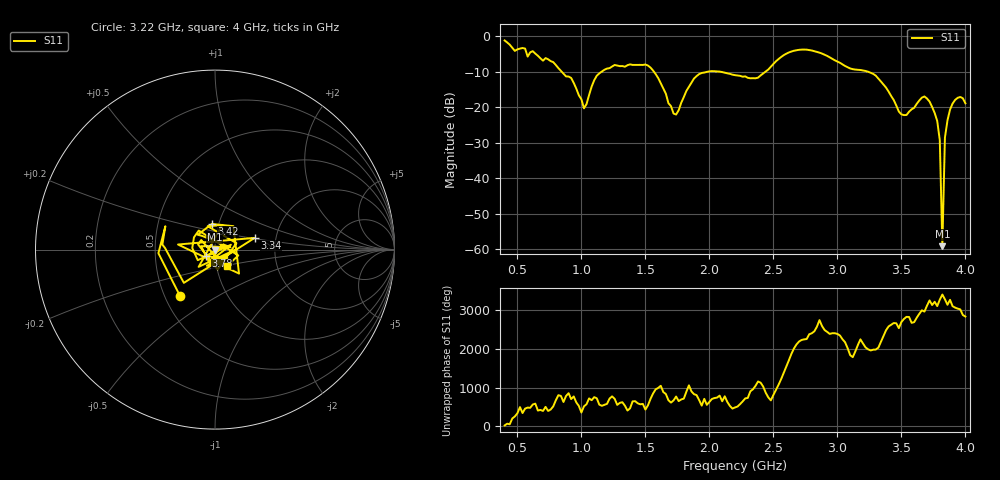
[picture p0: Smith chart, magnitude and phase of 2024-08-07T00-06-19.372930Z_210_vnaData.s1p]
!Created with skrf (http://scikit-rf.org).
# Hz S RI R 50.0
!freq ReS11 ImS11
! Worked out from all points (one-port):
!   181 points, 400 MHz to 4 GHz, reference 50 ohm
!   lowest |S11| = -59.1 dB at 3.82 GHz (marker M1), VSWR 1.00, Z = 49.9 + j0.0515 ohm
!   |S11| at or under -10 dB: 1.567 GHz to 1.987 GHz (419.9 MHz wide, 23.6 % of centre); 2.085 GHz to 2.439 GHz (354.3 MHz wide, 15.7 % of centre); 3.24 GHz to end of sweep (the widest 3 of 4)
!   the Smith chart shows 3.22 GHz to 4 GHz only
!   S11 on the Smith chart (normalised r, x): 3.22 GHz: 0.60, -0.35; 3.34 GHz: 1.55, +0.21; 3.42 GHz: 0.93, +0.27; 3.78 GHz: 0.90, -0.07; 4 GHz: 1.13, -0.21
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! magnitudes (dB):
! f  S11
! 400 MHz  -1.2
! 860 MHz  -10.5
! 920 MHz  -11.8
! 1.02 GHz  -20.3
! 1.12 GHz  -11.1
! 1.3 GHz  -8.4
! 1.52 GHz  -8.3
! 1.6 GHz  -11.8
! 1.72 GHz  -21.8
! 1.76 GHz  -20.8
! 1.92 GHz  -10.7
! 2.2 GHz  -11.0
! 2.38 GHz  -11.7
! 2.66 GHz  -4.1
! 3.1 GHz  -9.1
! 3.22 GHz  -9.8
! 3.34 GHz  -12.7
! 3.42 GHz  -16.8
! 3.5 GHz  -22.0
! 3.56 GHz  -21.3
! 3.68 GHz  -17.0
! 3.78 GHz  -23.9
! 3.8 GHz  -29.3
! 3.82 GHz  -59.1
! 3.84 GHz  -28.6
! 3.86 GHz  -23.7
! 3.92 GHz  -17.9
! 4 GHz  -18.9
